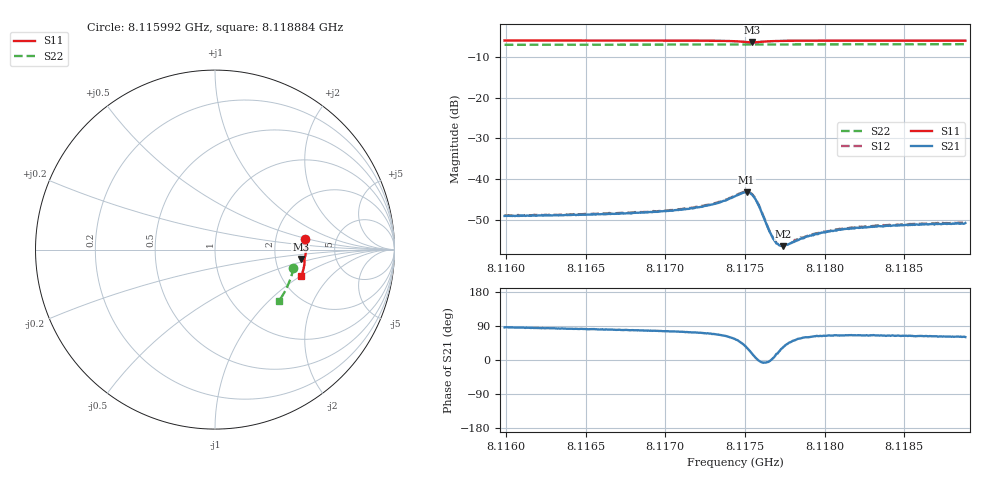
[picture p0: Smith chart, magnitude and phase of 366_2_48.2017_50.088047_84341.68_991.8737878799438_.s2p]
#  HZ  S  RI  R  50.00
! Rohde & Schwarz Vector Network Analyzer
! Rohde-Schwarz,ZNB20-2Port,1311601062101988,3.16
! Created: UTC 3/20/2024, 11:52:30 AM
! freq[Hz]  re:S11  im:S11  re:S21  im:S21  re:S12  im:S12  re:S22  im:S22
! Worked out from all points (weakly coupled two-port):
!   401 points, 8.115992 GHz to 8.118884 GHz, reference 50 ohm
!   highest |S21| = -43.28 dB at 8.11751 GHz (marker M1); lowest = -56.6 dB at 8.117742 GHz (marker M2)
!   lowest |S11| = -6.4 dB at 8.117546 GHz (marker M3), VSWR 2.85, Z = 140 - j18.9 ohm
!   |S11| at or under -10 dB: nowhere
!   |S22| runs from -7.0 to -6.8 dB; largest |S21 - S12| = 0.00018
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8.1159919e9  0.5039 0.0587  0.000237 0.00349  0.000267 0.00354  0.4371 -0.1006
8.1164763e9  0.5063 0.0224  0.000489 0.00359  0.000571 0.00363  0.4295 -0.1334
8.1169607e9  0.5056 -0.0147  0.000929 0.00386  0.000965 0.00391  0.4196 -0.1656
8.1171125e9  0.5044 -0.0271  0.00114 0.00406  0.0012 0.00413  0.416 -0.1755
8.1172282e9  0.5029 -0.037  0.00143 0.00429  0.00154 0.00439  0.413 -0.1832
8.1173367e9  0.5 -0.0472  0.00201 0.00467  0.00215 0.00476  0.4101 -0.1902
8.1174379e9  0.4931 -0.0571  0.00348 0.00503  0.00359 0.0051  0.407 -0.1969
8.1174812e9  0.4869 -0.0596  0.00475 0.00467  0.00488 0.00473  0.4056 -0.1995
8.1175102e9  0.4816 -0.0583  0.00573 0.00377  0.00587 0.00378  0.4046 -0.2012
8.1175319e9  0.4788 -0.0549  0.00613 0.00266  0.00628 0.00263  0.4039 -0.2022
8.1175463e9  0.4783 -0.0519  0.00611 0.00175  0.00623 0.00172  0.4035 -0.2029
8.1175608e9  0.4791 -0.049  0.00577 0.000924  0.0059 0.000874  0.4031 -0.2038
8.1175825e9  0.4822 -0.0459  0.00489 -2.07e-05  0.00497 -6.65e-05  0.4027 -0.2049
8.1176475e9  0.493 -0.048  0.00242 -0.000214  0.00244 -0.000211  0.4015 -0.209
8.1176764e9  0.4956 -0.0513  0.00185 0.000142  0.00187 0.000138  0.4007 -0.2109
8.1177054e9  0.4971 -0.0548  0.00152 0.000468  0.00157 0.000479  0.3997 -0.2128
8.1177271e9  0.498 -0.0572  0.00131 0.000722  0.00137 0.000702  0.3991 -0.2142
8.1177415e9  0.4983 -0.0588  0.00122 0.000842  0.00128 0.000848  0.3988 -0.2151
8.1179223e9  0.4986 -0.0762  0.000968 0.00178  0.00103 0.0018  0.3931 -0.2268
8.1181247e9  0.4961 -0.0927  0.00103 0.0022  0.00104 0.00221  0.3864 -0.2392
8.1184066e9  0.4916 -0.1143  0.00115 0.0024  0.0012 0.00245  0.3763 -0.2562
8.1188838e9  0.4819 -0.1488  0.00141 0.0025  0.00142 0.0025  0.3575 -0.284
